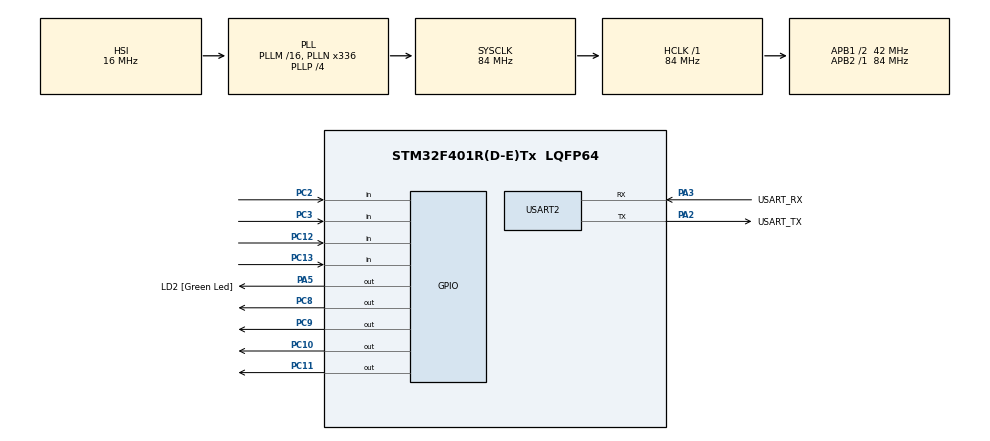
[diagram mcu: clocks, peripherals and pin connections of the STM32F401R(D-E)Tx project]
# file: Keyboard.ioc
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Mcu.Family=STM32F4
Mcu.Name=STM32F401R(D-E)Tx
Mcu.Package=LQFP64
NVIC.PriorityGroup=NVIC_PRIORITYGROUP_0
NVIC.TIM2_IRQn=true\:0\:0\:false\:false\:true\:true\:true\:true
NVIC.USART2_IRQn=true\:0\:0\:false\:false\:true\:true\:true\:true
PA13.GPIO_Label=TMS
PA13.Mode=Serial_Wire
PA13.Signal=SYS_JTMS-SWDIO
PA14.GPIO_Label=TCK
PA14.Mode=Serial_Wire
PA14.Signal=SYS_JTCK-SWCLK
PA2.GPIO_Label=USART_TX
PA2.GPIO_Mode=GPIO_MODE_AF_PP
PA2.GPIO_PuPd=GPIO_NOPULL
PA2.GPIO_Speed=GPIO_SPEED_FREQ_LOW
PA2.Mode=Asynchronous
PA2.Signal=USART2_TX
PA3.GPIO_Label=USART_RX
PA3.GPIO_Mode=GPIO_MODE_AF_PP
PA3.GPIO_PuPd=GPIO_NOPULL
PA3.GPIO_Speed=GPIO_SPEED_FREQ_LOW
PA3.Mode=Asynchronous
PA3.Signal=USART2_RX
PA5.GPIO_Label=LD2 [Green Led]
PA5.GPIO_Mode=GPIO_MODE_OUTPUT_PP
PA5.GPIO_PuPd=GPIO_NOPULL
PA5.GPIO_Speed=GPIO_SPEED_FREQ_LOW
PA5.Signal=GPIO_Output
PB3.GPIO_Label=SWO
PB3.Signal=SYS_JTDO-SWO
PC10.Signal=GPIO_Output
PC11.Signal=GPIO_Output
PC12.Signal=GPIO_Input
PC13-ANTI_TAMP.Signal=GPIO_Input
PC14-OSC32_IN.Mode=LSE-External-Oscillator
PC14-OSC32_IN.Signal=RCC_OSC32_IN
PC15-OSC32_OUT.Mode=LSE-External-Oscillator
PC15-OSC32_OUT.Signal=RCC_OSC32_OUT
PC2.Signal=GPIO_Input
PC3.Signal=GPIO_Input
PC8.Signal=GPIO_Output
PC9.Signal=GPIO_Output
PH0\ -\ OSC_IN.Mode=HSE-External-Clock-Source
PH0\ -\ OSC_IN.Signal=RCC_OSC_IN
PH1\ -\ OSC_OUT.Mode=HSE-External-Clock-Source
PH1\ -\ OSC_OUT.Signal=RCC_OSC_OUT
ProjectManager.HeapSize=0x200
ProjectManager.StackSize=0x400
ProjectManager.TargetToolchain=STM32CubeIDE
RCC.48MHZClocksFreq_Value=48000000
RCC.AHBFreq_Value=84000000
RCC.APB1CLKDivider=RCC_HCLK_DIV2
RCC.APB1Freq_Value=42000000
RCC.APB1TimFreq_Value=84000000
RCC.APB2Freq_Value=84000000
RCC.APB2TimFreq_Value=84000000
RCC.CortexFreq_Value=84000000
RCC.HCLKFreq_Value=84000000
RCC.HSE_VALUE=8000000
RCC.HSI_VALUE=16000000
RCC.PLLN=336
RCC.PLLP=RCC_PLLP_DIV4
RCC.PLLQ=7
RCC.SYSCLKFreq_VALUE=84000000
RCC.SYSCLKSource=RCC_SYSCLKSOURCE_PLLCLK
RCC.VCOOutputFreq_Value=336000000
TIM2.Period=5000 - 1
TIM2.Prescaler=84 - 1
USART2.VirtualMode=VM_ASYNC
VP_TIM2_VS_ClockSourceINT.Mode=Internal
board=NUCLEO-F401RE

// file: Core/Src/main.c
/* USER CODE BEGIN Header */
/**
  ******************************************************************************
  * @file           : main.c
  * @brief          : Main program body
  ******************************************************************************
  * @attention
  *
  * Copyright (c) 2024 STMicroelectronics.
  * All rights reserved.
  *
  * This software is licensed under terms that can be found in the LICENSE file
  * in the root directory of this software component.
  * If no LICENSE file comes with this software, it is provided AS-IS.
  *
  ******************************************************************************
  */
/* USER CODE END Header */
#include "main.h"

/* USER CODE BEGIN PD */

#define PIN_C0 GPIOC, GPIO_PIN_11
#define PIN_C1 GPIOC, GPIO_PIN_10
#define PIN_C2 GPIOC, GPIO_PIN_9
#define PIN_C3 GPIOC, GPIO_PIN_8

#define PIN_R0 GPIOC, GPIO_PIN_3
#define PIN_R1 GPIOC, GPIO_PIN_2
#define PIN_R2 GPIOC, GPIO_PIN_13
#define PIN_R3 GPIOC, GPIO_PIN_12

#define DEBOUNCE_TIME 2

/* USER CODE END PD */

TIM_HandleTypeDef htim2;

UART_HandleTypeDef huart2;

/* USER CODE BEGIN PV */

char map[16] = "FB73EA62D951C840";

uint32_t keypress[16]; //Keep track of key presses
uint32_t ack[16];	   //Key press acknowledge

int column_index = 0;
char string[64] = {0}; //Where the character will be stored and outputted
/* USER CODE END PV */

void SystemClock_Config(void);
static void MX_GPIO_Init(void);
static void MX_USART2_UART_Init(void);
static void MX_TIM2_Init(void);

/* USER CODE BEGIN 0 */
void HAL_TIM_PeriodElapsedCallback(TIM_HandleTypeDef *htim)
{

	if(htim == &htim2)
	{
		// ---------- Row Pins reading -------------- //

		//Reading operation before the setting of the column

		if(HAL_GPIO_ReadPin(PIN_R0) == GPIO_PIN_SET)
		{
			keypress[4*column_index] = 0;
		}
		else
		{
			keypress[4*column_index]++; //A "software filter", if this value is bigger than 2 is not a debounce phenomena
		}

		if(HAL_GPIO_ReadPin(PIN_R1) == GPIO_PIN_SET)
		{
			keypress[4*column_index+1] = 0;
		}
		else
		{
			keypress[4*column_index+1]++;
		}

		if(HAL_GPIO_ReadPin(PIN_R2) == GPIO_PIN_SET)
		{
			keypress[4*column_index+2] = 0;
		}
		else
		{
			keypress[4*column_index+2]++;
		}

		if(HAL_GPIO_ReadPin(PIN_R3) == GPIO_PIN_SET)
		{
			keypress[4*column_index+3] = 0;
		}
		else
		{
			keypress[4*column_index+3]++;
		}

		// --------------------------------------- //

		column_index = (++column_index) % 4;

		HAL_GPIO_WritePin(PIN_C0, (column_index == 0)?GPIO_PIN_SET:GPIO_PIN_RESET);
		HAL_GPIO_WritePin(PIN_C1, (column_index == 1)?GPIO_PIN_SET:GPIO_PIN_RESET);
		HAL_GPIO_WritePin(PIN_C2, (column_index == 2)?GPIO_PIN_SET:GPIO_PIN_RESET);
		HAL_GPIO_WritePin(PIN_C3, (column_index == 3)?GPIO_PIN_SET:GPIO_PIN_RESET);

		for(int i = 0; i < 16; i++)
		{
			if(keypress[i] > DEBOUNCE_TIME)
			{
				if(ack[i] == 0)
				{
					int string_length = snprintf(string, sizeof(string), "%c\n", map[i]);
					HAL_UART_Transmit(&huart2, string, string_length, 1); //Do not use DMA because if we press 2 contemporary buttons the second is discarded and print only one

					ack[i] = 1;
				}
			}
			else
			{
				ack[i] = 0;
			}
		}

	}

}
/* USER CODE END 0 */

int main(void)
{

  /* MCU Configuration--------------------------------------------------------*/

  /* Reset of all peripherals, Initializes the Flash interface and the Systick. */
  HAL_Init();

  /* Configure the system clock */
  SystemClock_Config();

  /* Initialize all configured peripherals */
  MX_GPIO_Init();
  MX_USART2_UART_Init();
  MX_TIM2_Init();
  /* USER CODE BEGIN 2 */

  HAL_TIM_Base_Start_IT(&htim2);

  /* USER CODE END 2 */

  /* Infinite loop */
  while (1)
  {

  }
}

void SystemClock_Config(void)
{
  RCC_OscInitTypeDef RCC_OscInitStruct = {0};
  RCC_ClkInitTypeDef RCC_ClkInitStruct = {0};

  /** Configure the main internal regulator output voltage
  */
  __HAL_RCC_PWR_CLK_ENABLE();
  __HAL_PWR_VOLTAGESCALING_CONFIG(PWR_REGULATOR_VOLTAGE_SCALE2);

  /** Initializes the RCC Oscillators according to the specified parameters
  * in the RCC_OscInitTypeDef structure.
  */
  RCC_OscInitStruct.OscillatorType = RCC_OSCILLATORTYPE_HSI;
  RCC_OscInitStruct.HSIState = RCC_HSI_ON;
  RCC_OscInitStruct.HSICalibrationValue = RCC_HSICALIBRATION_DEFAULT;
  RCC_OscInitStruct.PLL.PLLState = RCC_PLL_ON;
  RCC_OscInitStruct.PLL.PLLSource = RCC_PLLSOURCE_HSI;
  RCC_OscInitStruct.PLL.PLLM = 16;
  RCC_OscInitStruct.PLL.PLLN = 336;
  RCC_OscInitStruct.PLL.PLLP = RCC_PLLP_DIV4;
  RCC_OscInitStruct.PLL.PLLQ = 7;
  if (HAL_RCC_OscConfig(&RCC_OscInitStruct) != HAL_OK)
  {
    Error_Handler();
  }

  /** Initializes the CPU, AHB and APB buses clocks
  */
  RCC_ClkInitStruct.ClockType = RCC_CLOCKTYPE_HCLK|RCC_CLOCKTYPE_SYSCLK
                              |RCC_CLOCKTYPE_PCLK1|RCC_CLOCKTYPE_PCLK2;
  RCC_ClkInitStruct.SYSCLKSource = RCC_SYSCLKSOURCE_PLLCLK;
  RCC_ClkInitStruct.AHBCLKDivider = RCC_SYSCLK_DIV1;
  RCC_ClkInitStruct.APB1CLKDivider = RCC_HCLK_DIV2;
  RCC_ClkInitStruct.APB2CLKDivider = RCC_HCLK_DIV1;

  if (HAL_RCC_ClockConfig(&RCC_ClkInitStruct, FLASH_LATENCY_2) != HAL_OK)
  {
    Error_Handler();
  }
}

static void MX_TIM2_Init(void)
{

  TIM_ClockConfigTypeDef sClockSourceConfig = {0};
  TIM_MasterConfigTypeDef sMasterConfig = {0};

  htim2.Instance = TIM2;
  htim2.Init.Prescaler = 84 - 1;
  htim2.Init.CounterMode = TIM_COUNTERMODE_UP;
  htim2.Init.Period = 5000 - 1;
  htim2.Init.ClockDivision = TIM_CLOCKDIVISION_DIV1;
  htim2.Init.AutoReloadPreload = TIM_AUTORELOAD_PRELOAD_DISABLE;
  if (HAL_TIM_Base_Init(&htim2) != HAL_OK)
  {
    Error_Handler();
  }
  sClockSourceConfig.ClockSource = TIM_CLOCKSOURCE_INTERNAL;
  if (HAL_TIM_ConfigClockSource(&htim2, &sClockSourceConfig) != HAL_OK)
  {
    Error_Handler();
  }
  sMasterConfig.MasterOutputTrigger = TIM_TRGO_RESET;
  sMasterConfig.MasterSlaveMode = TIM_MASTERSLAVEMODE_DISABLE;
  if (HAL_TIMEx_MasterConfigSynchronization(&htim2, &sMasterConfig) != HAL_OK)
  {
    Error_Handler();
  }

}

static void MX_USART2_UART_Init(void)
{

  huart2.Instance = USART2;
  huart2.Init.BaudRate = 115200;
  huart2.Init.WordLength = UART_WORDLENGTH_8B;
  huart2.Init.StopBits = UART_STOPBITS_1;
  huart2.Init.Parity = UART_PARITY_NONE;
  huart2.Init.Mode = UART_MODE_TX_RX;
  huart2.Init.HwFlowCtl = UART_HWCONTROL_NONE;
  huart2.Init.OverSampling = UART_OVERSAMPLING_16;
  if (HAL_UART_Init(&huart2) != HAL_OK)
  {
    Error_Handler();
  }

}

static void MX_GPIO_Init(void)
{
  GPIO_InitTypeDef GPIO_InitStruct = {0};

  /* GPIO Ports Clock Enable */
  __HAL_RCC_GPIOC_CLK_ENABLE();
  __HAL_RCC_GPIOH_CLK_ENABLE();
  __HAL_RCC_GPIOA_CLK_ENABLE();
  __HAL_RCC_GPIOB_CLK_ENABLE();

  /*Configure GPIO pin Output Level */
  HAL_GPIO_WritePin(LD2_GPIO_Port, LD2_Pin, GPIO_PIN_RESET);

  /*Configure GPIO pin Output Level */
  HAL_GPIO_WritePin(GPIOC, GPIO_PIN_8|GPIO_PIN_9|GPIO_PIN_10|GPIO_PIN_11, GPIO_PIN_RESET);

  /*Configure GPIO pins : PC13 PC2 PC3 PC12 */
  GPIO_InitStruct.Pin = GPIO_PIN_13|GPIO_PIN_2|GPIO_PIN_3|GPIO_PIN_12;
  GPIO_InitStruct.Mode = GPIO_MODE_INPUT;
  GPIO_InitStruct.Pull = GPIO_NOPULL;
  HAL_GPIO_Init(GPIOC, &GPIO_InitStruct);

  /*Configure GPIO pin : LD2_Pin */
  GPIO_InitStruct.Pin = LD2_Pin;
  GPIO_InitStruct.Mode = GPIO_MODE_OUTPUT_PP;
  GPIO_InitStruct.Pull = GPIO_NOPULL;
  GPIO_InitStruct.Speed = GPIO_SPEED_FREQ_LOW;
  HAL_GPIO_Init(LD2_GPIO_Port, &GPIO_InitStruct);

  /*Configure GPIO pins : PC8 PC9 PC10 PC11 */
  GPIO_InitStruct.Pin = GPIO_PIN_8|GPIO_PIN_9|GPIO_PIN_10|GPIO_PIN_11;
  GPIO_InitStruct.Mode = GPIO_MODE_OUTPUT_PP;
  GPIO_InitStruct.Pull = GPIO_NOPULL;
  GPIO_InitStruct.Speed = GPIO_SPEED_FREQ_LOW;
  HAL_GPIO_Init(GPIOC, &GPIO_InitStruct);

}

void Error_Handler(void)
{
  __disable_irq();
  while (1)
  {
  }
}
